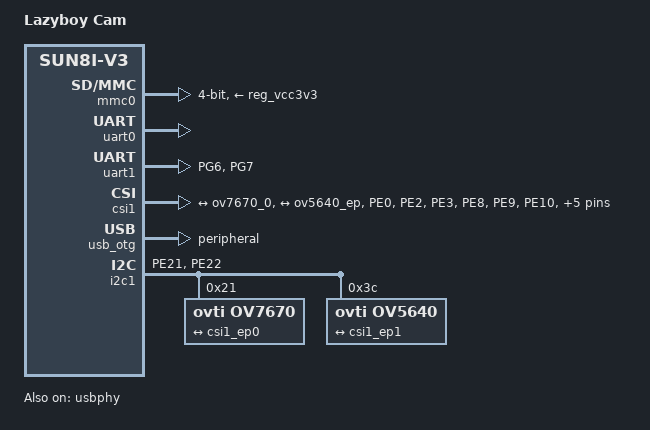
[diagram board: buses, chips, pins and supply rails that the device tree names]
/dts-v1/;
#include "sun8i-v3.dtsi"
#include "sunxi-common-regulators.dtsi"
#include <dt-bindings/gpio/gpio.h>
#include <dt-bindings/input/input.h>

/ {
	model = "Lazyboy Cam";
	compatible = "sipeed,lichee-zero-plus", "sochip,s3",
		     "allwinner,sun8i-v3";

	aliases {
		serial0 = &uart1;
	};

	chosen {
		stdout-path = "serial0:115200n8";
	};
};

&mmc0 {
	broken-cd;
	bus-width = <4>;
	vmmc-supply = <&reg_vcc3v3>;
	status = "okay";
};

&uart0 {
	pinctrl-0 = <&uart0_pb_pins>;
	pinctrl-names = "default";
	status = "okay";
};

&uart1 {
	pinctrl-0 = <&uart1_pg_pins>;
	pinctrl-names = "default";
	status = "okay";
};

&csi1 {
	status = "okay";
	pinctrl-names = "default";
	pinctrl-0 = <&csi1_clk &csi1_8bit>;

	port {
		csi1_ep0: endpoint@0 {
			remote-endpoint = <&ov7670_0>;
			bus-width = <8>;
			data-shift = <0>;	
			/* If hsync-active/vsync-active are missing,
			   embedded BT.656 sync is used */
			hsync-active = <0>;	/* Active low */
			vsync-active = <0>;	/* Active high */
			/*data-active = <1>;*/ 	/* Active high */
			pclk-sample = <1>;	/* Rising */ 
		};

        csi1_ep1: endpoint@1 {
			remote-endpoint = <&ov5640_ep>;
			bus-width = <8>;
			data-shift = <0>;	
			/* If hsync-active/vsync-active are missing,
			   embedded BT.656 sync is used */
			hsync-active = <0>;	/* Active low */
			vsync-active = <0>;	/* Active high */
			/*data-active = <1>;*/ 	/* Active high */
			pclk-sample = <1>;	/* Rising */ 
		};
	};
};



&pio {
	uart1_pg_pins: uart1-pg-pins {
		pins = "PG6", "PG7";
		function = "uart1";
	};

    i2c1_pins: i2c1-pins {
        pins = "PE21", "PE22";
        function = "i2c1";
    };

    csi1_8bit: csi1-8bit@0 {
		pins = "PE8","PE9","PE10","PE11","PE12","PE13","PE14","PE15";
		bias-pulldown;
		function = "csi";
    };

	csi1_clk: csi1-clk@0 {
		pins = "PE0","PE2","PE3";
		bias-disable;
		function = "csi";
    };

 	csi1_mclk: csi1-mclk@0 {
		pins = "PE1";
		bias-disable;
		function = "csi";
    };
};


&usb_otg {
	dr_mode = "peripheral";
	status = "okay";
};

&usbphy {
	usb0_id_det-gpios = <&pio 5 6 GPIO_ACTIVE_HIGH>;
	status = "okay";
};




&i2c1 {
    pinctrl-0 = <&i2c1_pins>;
	pinctrl-names = "default";
	status = "okay";

	ov7670: camera@21 {
		compatible = "ovti,ov7670"; 
		reg = <0x21>;
		pinctrl-names = "default";
		pinctrl-0 = <&csi1_mclk>;
		clocks = <&ccu CLK_CSI1_MCLK>;
		clock-names = "xclk";
		assigned-clock-rates = <12000000>;
		port {
			ov7670_0: endpoint {
				remote-endpoint = <&csi1_ep0>;
				bus-width = <8>;
				hsync-active = <1>;	/* Active high */
				vsync-active = <0>;	/* Active high */
				data-active = <1>;  	/* Active high */
				pclk-sample = <1>;	/* Rising */
			};
		};
	};

    ov5640: camera@3c {
        compatible = "ovti,ov5640";
        reg = <0x3c>;
        pinctrl-names="default";
        pinctrl-0 = <&csi1_mclk>;
		clocks = <&ccu CLK_CSI1_MCLK>;
		clock-names = "xclk";
		assigned-clock-rates = <12000000>;
        port {
			ov5640_ep: endpoint {
				remote-endpoint = <&csi1_ep1>;
				bus-width = <8>;
				hsync-active = <1>;	/* Active high */
				vsync-active = <0>;	/* Active high */
				data-active = <1>;  	/* Active high */
				pclk-sample = <1>;	/* Rising */
			};
		};
    };
};

